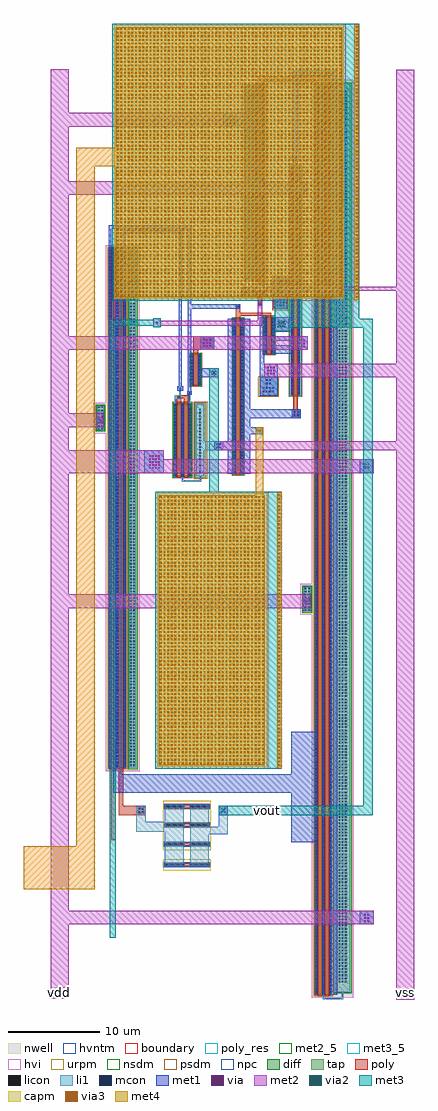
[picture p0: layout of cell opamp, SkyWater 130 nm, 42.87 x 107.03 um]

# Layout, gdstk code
from math import pi, radians
import gdstk
lib = gdstk.Library(unit=1e-6, precision=1e-09)
def R(c, l, rs):  # rectangles x0, y0, x1, y1
    for r in rs: c.add(gdstk.rectangle(r[:2], r[2:], *l))
def A(c, l, x, y, w, h, nx, ny, dx, dy):  # array of equal rectangles
    R(c, l, [(x+i*dx, y+j*dy, x+i*dx+w, y+j*dy+h) for i in range(nx) for j in range(ny)])
nwell = (64, 20)
diff = (65, 20)
tap = (65, 44)
poly_res = (66, 13)
poly = (66, 20)
licon = (66, 44)
li1 = (67, 20)
mcon = (67, 44)
met1 = (68, 20)
via = (68, 44)
met2_5 = (69, 5)
met2 = (69, 20)
via2 = (69, 44)
met3_5 = (70, 5)
met3 = (70, 20)
via3 = (70, 44)
met4 = (71, 20)
hvi = (75, 20)
urpm = (79, 20)
capm = (89, 44)
nsdm = (93, 44)
psdm = (94, 20)
npc = (95, 20)
hvntm = (125, 20)
boundary = (235, 4)

sky130_fd_pr__pfet_g5v0d = lib.new_cell('sky130_fd_pr__pfet_g5v0d10v5_WEFUJG')
R(sky130_fd_pr__pfet_g5v0d, nwell, [(-0.72,-28.81,0.72,28.81)])
R(sky130_fd_pr__pfet_g5v0d, diff, [(-0.54,-28.5,0.54,28.5)])
R(sky130_fd_pr__pfet_g5v0d, poly, [(-0.25,-28.63,0.25,28.63)])
A(sky130_fd_pr__pfet_g5v0d, licon, -0.48, -28.305, 0.17, 0.17, 1, 167, 0, 0.34)
A(sky130_fd_pr__pfet_g5v0d, licon, 0.31, -28.305, 0.17, 0.17, 1, 167, 0, 0.34)
R(sky130_fd_pr__pfet_g5v0d, li1, [(-0.48,-28.52,-0.31,28.52), (0.31,-28.52,0.48,28.52)])
A(sky130_fd_pr__pfet_g5v0d, mcon, -0.48, -28.345, 0.17, 0.17, 1, 158, 0, 0.36)
A(sky130_fd_pr__pfet_g5v0d, mcon, 0.31, -28.345, 0.17, 0.17, 1, 158, 0, 0.36)
R(sky130_fd_pr__pfet_g5v0d, met1, [(-0.51,-28.5,-0.28,28.5), (0.28,-28.5,0.51,28.5)])
R(sky130_fd_pr__pfet_g5v0d, hvi, [(-0.72,-28.81,0.72,-28.685), (-0.725,-28.685,0.725,28.685), (-0.72,28.685,0.72,28.81)])
R(sky130_fd_pr__pfet_g5v0d, psdm, [(-0.665,-28.625,0.665,28.625)])

sky130_fd_pr__res_xhigh_ = lib.new_cell('sky130_fd_pr__res_xhigh_po_0p35_6R3NZW')
R(sky130_fd_pr__res_xhigh_, poly_res, [(-0.175,-0.31,0.175,0.31)])
R(sky130_fd_pr__res_xhigh_, poly, [(-0.175,-2.41,0.175,2.41)])
R(sky130_fd_pr__res_xhigh_, licon, [(-0.095,-2.33,0.095,-0.33), (-0.095,0.33,0.095,2.33)])
R(sky130_fd_pr__res_xhigh_, li1, [(-0.175,-2.41,0.175,-0.25), (-0.175,0.25,0.175,2.41)])
R(sky130_fd_pr__res_xhigh_, urpm, [(-0.635,-2.61,0.635,2.61)])
R(sky130_fd_pr__res_xhigh_, psdm, [(-0.285,-2.52,0.285,2.52)])
R(sky130_fd_pr__res_xhigh_, npc, [(-0.27,-2.505,0.27,2.505)])

sky130_fd_pr__nfet_g5v0d = lib.new_cell('sky130_fd_pr__nfet_g5v0d10v5_NVF9UB')
R(sky130_fd_pr__nfet_g5v0d, diff, [(-0.54,-1.7,0.54,1.7)])
R(sky130_fd_pr__nfet_g5v0d, poly, [(-0.25,-1.83,0.25,1.83)])
A(sky130_fd_pr__nfet_g5v0d, licon, -0.48, -1.615, 0.17, 0.17, 1, 10, 0, 0.34)
A(sky130_fd_pr__nfet_g5v0d, licon, 0.31, -1.615, 0.17, 0.17, 1, 10, 0, 0.34)
R(sky130_fd_pr__nfet_g5v0d, li1, [(-0.48,-1.72,-0.31,1.72), (0.31,-1.72,0.48,1.72)])
A(sky130_fd_pr__nfet_g5v0d, mcon, -0.48, -1.525, 0.17, 0.17, 1, 9, 0, 0.36)
A(sky130_fd_pr__nfet_g5v0d, mcon, 0.31, -1.525, 0.17, 0.17, 1, 9, 0, 0.36)
R(sky130_fd_pr__nfet_g5v0d, met1, [(-0.51,-1.7,-0.28,1.7), (0.28,-1.7,0.51,1.7)])
R(sky130_fd_pr__nfet_g5v0d, hvi, [(-0.725,-1.885,0.725,1.885)])
R(sky130_fd_pr__nfet_g5v0d, nsdm, [(-0.665,-1.825,0.665,1.825)])
R(sky130_fd_pr__nfet_g5v0d, hvntm, [(-0.725,-1.885,0.725,1.885)])

c_sky130_fd_pr__nfet_g5v0d = lib.new_cell('sky130_fd_pr__nfet_g5v0d10v5_8TFH99')
R(c_sky130_fd_pr__nfet_g5v0d, diff, [(-0.54,-4,0.54,4)])
R(c_sky130_fd_pr__nfet_g5v0d, poly, [(-0.25,-4.13,0.25,4.13)])
A(c_sky130_fd_pr__nfet_g5v0d, licon, -0.48, -3.825, 0.17, 0.17, 1, 23, 0, 0.34)
A(c_sky130_fd_pr__nfet_g5v0d, licon, 0.31, -3.825, 0.17, 0.17, 1, 23, 0, 0.34)
R(c_sky130_fd_pr__nfet_g5v0d, li1, [(-0.48,-4.02,-0.31,4.02), (0.31,-4.02,0.48,4.02)])
A(c_sky130_fd_pr__nfet_g5v0d, mcon, -0.48, -3.865, 0.17, 0.17, 1, 22, 0, 0.36)
A(c_sky130_fd_pr__nfet_g5v0d, mcon, 0.31, -3.865, 0.17, 0.17, 1, 22, 0, 0.36)
R(c_sky130_fd_pr__nfet_g5v0d, met1, [(-0.51,-4,-0.28,4), (0.28,-4,0.51,4)])
R(c_sky130_fd_pr__nfet_g5v0d, hvi, [(-0.725,-4.185,0.725,4.185)])
R(c_sky130_fd_pr__nfet_g5v0d, nsdm, [(-0.665,-4.125,0.665,4.125)])
R(c_sky130_fd_pr__nfet_g5v0d, hvntm, [(-0.725,-4.185,0.725,4.185)])

sky130_fd_pr__cap_mim_m3 = lib.new_cell('sky130_fd_pr__cap_mim_m3_1_R576D9')
R(sky130_fd_pr__cap_mim_m3, met3, [(-6.93,-15.2,6.93,15.2)])
A(sky130_fd_pr__cap_mim_m3, via3, 6.57, -14.9, 0.2, 0.2, 1, 75, 0, 0.4)
A(sky130_fd_pr__cap_mim_m3, via3, -6.43, -14.7, 0.2, 0.2, 29, 74, 0.4, 0.4)
R(sky130_fd_pr__cap_mim_m3, met4, [(6.43,-15.14,6.91,15.14), (-6.535,-14.805,5.075,14.805)])
R(sky130_fd_pr__cap_mim_m3, capm, [(-6.73,-15,5.27,15)])
R(sky130_fd_pr__cap_mim_m3, boundary, [(-6.93,-15.2,5.47,15.2)])

c_sky130_fd_pr__pfet_g5v0d = lib.new_cell('sky130_fd_pr__pfet_g5v0d10v5_WEDTZF')
R(c_sky130_fd_pr__pfet_g5v0d, nwell, [(-0.72,-10.81,0.72,10.81)])
R(c_sky130_fd_pr__pfet_g5v0d, diff, [(-0.54,-10.5,0.54,10.5)])
R(c_sky130_fd_pr__pfet_g5v0d, poly, [(-0.25,-10.63,0.25,10.63)])
A(c_sky130_fd_pr__pfet_g5v0d, licon, -0.48, -10.285, 0.17, 0.17, 1, 61, 0, 0.34)
A(c_sky130_fd_pr__pfet_g5v0d, licon, 0.31, -10.285, 0.17, 0.17, 1, 61, 0, 0.34)
R(c_sky130_fd_pr__pfet_g5v0d, li1, [(-0.48,-10.52,-0.31,10.52), (0.31,-10.52,0.48,10.52)])
A(c_sky130_fd_pr__pfet_g5v0d, mcon, -0.48, -10.345, 0.17, 0.17, 1, 58, 0, 0.36)
A(c_sky130_fd_pr__pfet_g5v0d, mcon, 0.31, -10.345, 0.17, 0.17, 1, 58, 0, 0.36)
R(c_sky130_fd_pr__pfet_g5v0d, met1, [(-0.51,-10.5,-0.28,10.5), (0.28,-10.5,0.51,10.5)])
R(c_sky130_fd_pr__pfet_g5v0d, hvi, [(-0.72,-10.81,0.72,-10.685), (-0.725,-10.685,0.725,10.685), (-0.72,10.685,0.72,10.81)])
R(c_sky130_fd_pr__pfet_g5v0d, psdm, [(-0.665,-10.625,0.665,10.625)])

c_sky130_fd_pr__pfet_g5v0d_ = lib.new_cell('sky130_fd_pr__pfet_g5v0d10v5_WEGY9C')
R(c_sky130_fd_pr__pfet_g5v0d_, nwell, [(-0.72,-50.31,0.72,50.31)])
R(c_sky130_fd_pr__pfet_g5v0d_, diff, [(-0.54,-50,0.54,50)])
R(c_sky130_fd_pr__pfet_g5v0d_, poly, [(-0.25,-50.13,0.25,50.13)])
A(c_sky130_fd_pr__pfet_g5v0d_, licon, -0.48, -49.895, 0.17, 0.17, 1, 294, 0, 0.34)
A(c_sky130_fd_pr__pfet_g5v0d_, licon, 0.31, -49.895, 0.17, 0.17, 1, 294, 0, 0.34)
R(c_sky130_fd_pr__pfet_g5v0d_, li1, [(-0.48,-50.02,-0.31,50.02), (0.31,-50.02,0.48,50.02)])
A(c_sky130_fd_pr__pfet_g5v0d_, mcon, -0.48, -49.765, 0.17, 0.17, 1, 277, 0, 0.36)
A(c_sky130_fd_pr__pfet_g5v0d_, mcon, 0.31, -49.765, 0.17, 0.17, 1, 277, 0, 0.36)
R(c_sky130_fd_pr__pfet_g5v0d_, met1, [(-0.51,-50,-0.28,50), (0.28,-50,0.51,50)])
R(c_sky130_fd_pr__pfet_g5v0d_, hvi, [(-0.72,-50.31,0.72,-50.185), (-0.725,-50.185,0.725,50.185), (-0.72,50.185,0.72,50.31)])
R(c_sky130_fd_pr__pfet_g5v0d_, psdm, [(-0.665,-50.125,0.665,50.125)])

c_sky130_fd_pr__nfet_g5v0d_ = lib.new_cell('sky130_fd_pr__nfet_g5v0d10v5_5WHWCF')
R(c_sky130_fd_pr__nfet_g5v0d_, diff, [(-0.54,-0.215,0.54,0.215)])
R(c_sky130_fd_pr__nfet_g5v0d_, poly, [(-0.25,-0.345,0.25,0.345)])
R(c_sky130_fd_pr__nfet_g5v0d_, licon, [(-0.48,-0.085,-0.31,0.085), (0.31,-0.085,0.48,0.085)])
R(c_sky130_fd_pr__nfet_g5v0d_, li1, [(-0.48,-0.235,-0.31,0.235), (0.31,-0.235,0.48,0.235)])
R(c_sky130_fd_pr__nfet_g5v0d_, mcon, [(-0.48,-0.085,-0.31,0.085), (0.31,-0.085,0.48,0.085)])
R(c_sky130_fd_pr__nfet_g5v0d_, met1, [(-0.51,-0.215,-0.28,0.215), (0.28,-0.215,0.51,0.215)])
R(c_sky130_fd_pr__nfet_g5v0d_, hvi, [(-0.725,-0.42,0.725,0.42)])
R(c_sky130_fd_pr__nfet_g5v0d_, nsdm, [(-0.665,-0.34,0.665,0.34)])
R(c_sky130_fd_pr__nfet_g5v0d_, hvntm, [(-0.725,-0.4,0.725,0.4)])

c_sky130_fd_pr__nfet_g5v0d__ = lib.new_cell('sky130_fd_pr__nfet_g5v0d10v5_JTFHRD')
R(c_sky130_fd_pr__nfet_g5v0d__, diff, [(-0.54,-8.5,0.54,8.5)])
R(c_sky130_fd_pr__nfet_g5v0d__, poly, [(-0.25,-8.63,0.25,8.63)])
A(c_sky130_fd_pr__nfet_g5v0d__, licon, -0.48, -8.415, 0.17, 0.17, 1, 50, 0, 0.34)
A(c_sky130_fd_pr__nfet_g5v0d__, licon, 0.31, -8.415, 0.17, 0.17, 1, 50, 0, 0.34)
R(c_sky130_fd_pr__nfet_g5v0d__, li1, [(-0.48,-8.52,-0.31,8.52), (0.31,-8.52,0.48,8.52)])
A(c_sky130_fd_pr__nfet_g5v0d__, mcon, -0.48, -8.365, 0.17, 0.17, 1, 47, 0, 0.36)
A(c_sky130_fd_pr__nfet_g5v0d__, mcon, 0.31, -8.365, 0.17, 0.17, 1, 47, 0, 0.36)
R(c_sky130_fd_pr__nfet_g5v0d__, met1, [(-0.51,-8.5,-0.28,8.5), (0.28,-8.5,0.51,8.5)])
R(c_sky130_fd_pr__nfet_g5v0d__, hvi, [(-0.725,-8.685,0.725,8.685)])
R(c_sky130_fd_pr__nfet_g5v0d__, nsdm, [(-0.665,-8.625,0.665,8.625)])
R(c_sky130_fd_pr__nfet_g5v0d__, hvntm, [(-0.725,-8.685,0.725,8.685)])

c_sky130_fd_pr__nfet_g5v0d___ = lib.new_cell('sky130_fd_pr__nfet_g5v0d10v5_R7UGR2')
R(c_sky130_fd_pr__nfet_g5v0d___, diff, [(-0.54,-12.5,0.54,12.5)])
R(c_sky130_fd_pr__nfet_g5v0d___, poly, [(-0.25,-12.63,0.25,12.63)])
A(c_sky130_fd_pr__nfet_g5v0d___, licon, -0.48, -12.325, 0.17, 0.17, 1, 73, 0, 0.34)
A(c_sky130_fd_pr__nfet_g5v0d___, licon, 0.31, -12.325, 0.17, 0.17, 1, 73, 0, 0.34)
R(c_sky130_fd_pr__nfet_g5v0d___, li1, [(-0.48,-12.52,-0.31,12.52), (0.31,-12.52,0.48,12.52)])
A(c_sky130_fd_pr__nfet_g5v0d___, mcon, -0.48, -12.325, 0.17, 0.17, 1, 69, 0, 0.36)
A(c_sky130_fd_pr__nfet_g5v0d___, mcon, 0.31, -12.325, 0.17, 0.17, 1, 69, 0, 0.36)
R(c_sky130_fd_pr__nfet_g5v0d___, met1, [(-0.51,-12.5,-0.28,12.5), (0.28,-12.5,0.51,12.5)])
R(c_sky130_fd_pr__nfet_g5v0d___, hvi, [(-0.725,-12.685,0.725,12.685)])
R(c_sky130_fd_pr__nfet_g5v0d___, nsdm, [(-0.665,-12.625,0.665,12.625)])
R(c_sky130_fd_pr__nfet_g5v0d___, hvntm, [(-0.725,-12.685,0.725,12.685)])

c_sky130_fd_pr__nfet_g5v0d____ = lib.new_cell('sky130_fd_pr__nfet_g5v0d10v5_CPFH9X')
R(c_sky130_fd_pr__nfet_g5v0d____, diff, [(-0.54,-2,0.54,2)])
R(c_sky130_fd_pr__nfet_g5v0d____, poly, [(-0.25,-2.13,0.25,2.13)])
A(c_sky130_fd_pr__nfet_g5v0d____, licon, -0.48, -1.785, 0.17, 0.17, 1, 11, 0, 0.34)
A(c_sky130_fd_pr__nfet_g5v0d____, licon, 0.31, -1.785, 0.17, 0.17, 1, 11, 0, 0.34)
R(c_sky130_fd_pr__nfet_g5v0d____, li1, [(-0.48,-2.02,-0.31,2.02), (0.31,-2.02,0.48,2.02)])
A(c_sky130_fd_pr__nfet_g5v0d____, mcon, -0.48, -1.885, 0.17, 0.17, 1, 11, 0, 0.36)
A(c_sky130_fd_pr__nfet_g5v0d____, mcon, 0.31, -1.885, 0.17, 0.17, 1, 11, 0, 0.36)
R(c_sky130_fd_pr__nfet_g5v0d____, met1, [(-0.51,-2,-0.28,2), (0.28,-2,0.51,2)])
R(c_sky130_fd_pr__nfet_g5v0d____, hvi, [(-0.725,-2.185,0.725,2.185)])
R(c_sky130_fd_pr__nfet_g5v0d____, nsdm, [(-0.665,-2.125,0.665,2.125)])
R(c_sky130_fd_pr__nfet_g5v0d____, hvntm, [(-0.725,-2.185,0.725,2.185)])

c_sky130_fd_pr__cap_mim_m3 = lib.new_cell('sky130_fd_pr__cap_mim_m3_1_FWYM4B')
R(c_sky130_fd_pr__cap_mim_m3, met3, [(-13.53,-15.2,13.53,15.2)])
A(c_sky130_fd_pr__cap_mim_m3, via3, 13.17, -14.9, 0.2, 0.2, 1, 75, 0, 0.4)
A(c_sky130_fd_pr__cap_mim_m3, via3, -13.03, -14.7, 0.2, 0.2, 62, 74, 0.4, 0.4)
R(c_sky130_fd_pr__cap_mim_m3, met4, [(13.03,-15.14,13.51,15.14), (-13.135,-14.805,11.675,14.805)])
R(c_sky130_fd_pr__cap_mim_m3, capm, [(-13.33,-15,11.87,15)])
R(c_sky130_fd_pr__cap_mim_m3, boundary, [(-13.53,-15.2,12.07,15.2)])

opamp = lib.new_cell('opamp')
R(opamp, nwell, [(2.725,-22.06,7.29,19.98), (-19.88,2.83,-16.17,39.84), (1.46,19.98,7.29,23.38), (2.725,23.38,7.29,78.605), (-21.22,39.84,-16.17,43.24), (-19.88,43.24,-16.17,60.5), (-4.855,56.55,-2.08,78.21)])
R(opamp, diff, [(-3.665,54.945,-3.49,55.375), (-3.74,56.88,-3.49,77.88)])
R(opamp, tap, [(5.215,-21.405,6.96,-20.32), (5.215,-20.32,6.955,78.185), (-17.34,3.165,-16.5,60.165), (1.81,20.33,2.65,23.02), (-10.12,34.995,-8.83,43.22), (-20.87,40.19,-20.03,42.88), (-3,43.995,-1,46), (-1.505,53.5,0.005,56.995), (-4.84,54.945,-4.14,55.375), (-4.525,56.88,-3.74,77.88)])
R(opamp, poly, [(-19.265,-4.755,-18.755,3.035), (-18.465,-2,-15.5,-1), (-18.465,-1,-17.965,3.035), (0.5,41.505,1.505,42.5), (0.685,42.5,1.195,43.94), (-12.1,43.26,-11.6,43.73), (-11.31,43.26,-10.81,43.73), (-12.1,43.73,-10.81,44.03), (-10.25,48.66,-9.75,49), (-10.25,49,-8,50.5), (-5.6,52.54,-5.1,52.77), (-2.21,52.74,-1.71,52.77), (-5.6,52.77,-1.71,53.095), (-5.6,53.095,-5.1,54), (-3.22,53.835,-2.685,54.295), (-3.2,54.295,-2.7,54.815), (-3.2,56.175,-2.355,56.555), (-3.2,56.555,-2.7,56.75), (0.69,69.2,1.19,69.775), (0.57,69.775,1.33,70.36), (-3.2,78.01,-2.7,78.4), (-3.2,78.4,3.85,78.76), (4.14,78.4,4.64,78.76), (-3.2,78.76,4.64,79), (-3.2,79,3.57,79.005)])
A(opamp, licon, 5.68, -20.33, 0.17, 0.17, 3, 288, 0.34, 0.34)
A(opamp, licon, -17.18, 3.375, 0.17, 0.17, 1, 167, 0, 0.34)
A(opamp, licon, -16.84, 3.375, 0.17, 0.17, 1, 167, 0, 0.34)
A(opamp, licon, 1.97, 20.4, 0.17, 0.17, 1, 8, 0, 0.34)
A(opamp, licon, 2.31, 20.4, 0.17, 0.17, 1, 8, 0, 0.34)
A(opamp, licon, -9.62, 35.57, 0.17, 0.17, 1, 21, 0, 0.34)
A(opamp, licon, -20.71, 40.26, 0.17, 0.17, 1, 8, 0, 0.34)
A(opamp, licon, -20.37, 40.26, 0.17, 0.17, 1, 8, 0, 0.34)
A(opamp, licon, -2.65, 44.385, 0.17, 0.17, 4, 2, 0.34, 0.34)
A(opamp, licon, -9.175, 49.35, 0.17, 0.17, 3, 3, 0.34, 0.34)
A(opamp, licon, -1.16, 53.78, 0.17, 0.17, 3, 9, 0.34, 0.34)
A(opamp, licon, -4.38, 57.065, 0.17, 0.17, 1, 61, 0, 0.34)
A(opamp, licon, -4.04, 57.065, 0.17, 0.17, 1, 61, 0, 0.34)
R(opamp, licon, [(-16.25,-1.77,-16.08,-1.6), (-15.91,-1.77,-15.74,-1.6), (-16.25,-1.43,-16.08,-1.26), (-15.91,-1.43,-15.74,-1.26), (0.765,41.77,0.935,41.94), (1.105,41.77,1.275,41.94), (0.765,42.11,0.935,42.28), (1.105,42.11,1.275,42.28), (-11.945,43.74,-11.775,43.91), (-5.435,53.675,-5.265,53.845), (-3.04,53.98,-2.87,54.15), (-4.52,55.09,-4.35,55.26), (-2.66,56.275,-2.49,56.445), (0.87,70.02,1.04,70.19)])
R(opamp, li1, [(3.91,-22.22,6.16,-22.05), (3.91,-22.05,4.08,-21.75), (5.99,-22.05,6.16,-21.405), (5.215,-21.405,6.96,-14), (5.215,-14,9.5,-12.5), (5.215,-12.5,6.96,35.5), (-10.62,-7.64,-8.56,-4.475), (-13.39,-7.63,-11.31,-3.825), (-10.62,-4.475,-8.555,-4.105), (-10.62,-4.105,-6.495,-3.255), (-16.5,-3.825,-11.31,-2.74), (-10.62,-3.255,-8.555,-2.325), (-7.5,-3.255,-6.5,-1), (-16.5,-2.74,-15.5,-1), (-13.39,-2.74,-11.31,-0.89), (-10.62,-2.325,-8.56,-0.89), (-17.295,3.215,-16.535,35.5), (1.855,20.33,2.615,23.02), (-11.54,34.53,-9.415,34.7), (-11.54,34.7,-11.37,35.11), (-9.585,34.7,-9.415,35.195), (-9.925,35.195,-9.075,38), (-17.295,35.5,-13.5,38), (5.215,35.5,9.51,36.99), (5.215,36.99,6.96,78.185), (-17.295,38,-16.535,60.13), (-9.925,38,-7,39), (-9.925,39,-9.075,43.06), (-20.825,40.19,-20.065,42.88), (0.5,41.505,1.505,42.5), (-12.33,43.15,-12.16,43.64), (-10.75,43.15,-10.58,44.085), (-12.33,43.64,-11.6,44.03), (-3,43.995,-1,46), (-11.81,44.03,-11.64,44.54), (-10.925,44.085,-10.425,44.5), (-12.02,44.54,-11.39,45.01), (-9.5,49,-8,50.5), (-5.6,53.5,-5.095,54), (-1.505,53.5,0.005,56.995), (-3.22,53.835,-2.685,54.295), (-4.795,54.945,-3.43,55.375), (-4.785,55.375,-4.165,55.925), (-2.64,55.395,-2.47,56.175), (-2.78,56.175,-2.355,56.555), (-2.64,56.555,-2.47,56.86), (-4.525,56.88,-3.43,73.5), (0.57,69.775,1.33,70.36), (-7,73.5,-3.43,75), (-4.525,75,-3.43,77.88), (6.07,78.185,6.24,78.55), (3.91,78.29,4.08,78.55), (3.91,78.55,6.24,78.72)])
A(opamp, mcon, 8.475, -13.73, 0.17, 0.17, 1, 3, 0, 0.36)
A(opamp, mcon, 8.835, -13.73, 0.17, 0.17, 1, 3, 0, 0.36)
A(opamp, mcon, -9.195, 49.33, 0.17, 0.17, 3, 3, 0.36, 0.36)
A(opamp, mcon, -6.685, 73.805, 0.17, 0.17, 3, 3, 0.36, 0.36)
R(opamp, mcon, [(-7.255,-1.73,-7.085,-1.56), (-6.895,-1.73,-6.725,-1.56), (-7.255,-1.37,-7.085,-1.2), (-6.895,-1.37,-6.725,-1.2), (2.14,21.345,2.31,21.515), (8.49,36.045,8.66,36.215), (8.85,36.045,9.02,36.215), (8.49,36.405,8.66,36.575), (8.85,36.405,9.02,36.575), (-7.74,38.225,-7.57,38.395), (-7.38,38.225,-7.21,38.395), (-7.74,38.585,-7.57,38.755), (-7.38,38.585,-7.21,38.755), (-20.54,41.205,-20.37,41.375), (0.755,41.76,0.925,41.93), (1.115,41.76,1.285,41.93), (0.755,42.12,0.925,42.29), (1.115,42.12,1.285,42.29), (-10.755,44.195,-10.585,44.365), (-11.775,44.685,-11.605,44.855), (-2.3,45.25,-2.13,45.42), (-1.94,45.25,-1.77,45.42), (-2.3,45.61,-2.13,45.78), (-1.94,45.61,-1.77,45.78), (-5.435,53.675,-5.265,53.845), (-3.04,53.98,-2.87,54.15), (-1.015,54.99,-0.845,55.16), (-0.655,54.99,-0.485,55.16), (-1.015,55.35,-0.845,55.52), (-0.655,55.35,-0.485,55.52), (-4.63,55.545,-4.46,55.715), (0.87,70.02,1.04,70.19)])
R(opamp, met1, [(4.9,-21.73,5.5,79.095), (8,-14,9.5,-12.5), (0.49,-5.005,3.09,0.43), (-7.5,-2,-6.5,-1), (-19.03,0.43,3.09,2.5), (-19.03,2.5,-18.195,60.295), (0.49,2.5,3.09,7.135), (1.97,21.14,2.49,21.76), (-6.5,35.41,-5.86,38), (-4.84,35.41,-4,39.76), (-15.64,35.5,-13.5,38), (8,35.5,9.51,36.99), (-8,38,-5.86,39), (-6.5,39,-5.86,52.41), (-4.84,39.76,-2.585,40.525), (-4.84,40.525,-4,41.505), (-20.71,41,-20.19,41.62), (-4.84,41.505,1.505,42.5), (-4.84,42.5,-4,52.41), (-3,43.995,-1,47.5), (-10.925,44.085,-10.425,44.5), (-10.855,44.5,-10.495,53.5), (-12.02,44.54,-11.39,45.01), (-11.88,45.01,-11.52,61.79), (-9.49,46,-7.5,47), (-3,47.5,-2.47,52.61), (-1.45,48.61,0.43,49.5), (-9.5,49,-8,50.5), (1.45,49,2.3,50.5), (-1.45,49.5,-1.42,50), (0.4,49.5,0.43,50), (-1.45,50,0.43,50.5), (-1.45,50.5,-1.42,51), (0.4,50.5,0.43,51), (-1.45,51,0.43,52.61), (-10.855,53.5,-5.1,54), (-1.505,53.5,0.005,56.995), (-3.22,53.835,-2.685,54.295), (-10.855,54,-10.495,62.32), (-4.785,55.375,-4.29,55.925), (-19.515,60.165,-19.28,62.32), (-17.935,60.165,-17.705,61.79), (-17.935,61.79,-11.52,62.15), (-19.515,62.32,-10.495,62.68), (1.45,66,2.24,67.5), (0.57,69.775,1.33,70.36), (0.62,70.36,1.22,79.095), (-7,73.5,-5.5,75), (0.62,79.095,5.5,79.695)])
A(opamp, via, 8.505, -13.68, 0.15, 0.15, 1, 3, 0, 0.32)
A(opamp, via, 8.825, -13.68, 0.15, 0.15, 1, 3, 0, 0.32)
A(opamp, via, -15.085, 36.005, 0.15, 0.15, 4, 5, 0.32, 0.32)
A(opamp, via, -2.15, 46.355, 0.15, 0.15, 3, 3, 0.32, 0.32)
A(opamp, via, 1.79, 49.305, 0.15, 0.15, 1, 3, 0, 0.32)
A(opamp, via, -9.145, 49.38, 0.15, 0.15, 3, 3, 0.32, 0.32)
A(opamp, via, -0.985, 51.44, 0.15, 0.15, 3, 3, 0.32, 0.32)
A(opamp, via, 1.77, 66.415, 0.15, 0.15, 1, 3, 0, 0.32)
A(opamp, via, -6.635, 73.855, 0.15, 0.15, 3, 3, 0.32, 0.32)
R(opamp, via, [(-7.065,-1.54,-6.915,-1.39), (2.15,21.355,2.3,21.505), (8.52,36.075,8.67,36.225), (8.84,36.075,8.99,36.225), (8.52,36.395,8.67,36.545), (8.84,36.395,8.99,36.545), (-7.55,38.255,-7.4,38.405), (-7.55,38.575,-7.4,38.725), (-3.07,40.08,-2.92,40.23), (-20.53,41.215,-20.38,41.365), (-8.235,46.27,-8.085,46.42), (-7.915,46.27,-7.765,46.42), (-8.235,46.59,-8.085,46.74), (-7.915,46.59,-7.765,46.74), (-3.03,53.99,-2.88,54.14), (-0.985,55.18,-0.835,55.33), (-0.665,55.18,-0.515,55.33), (-4.62,55.555,-4.47,55.705)])
R(opamp, met2_5, [(-25.555,-22.05,-24.3,-20.94), (12.555,-21.895,13.355,-21.05)])
R(opamp, met2, [(11.995,-22.225,13.98,38), (-25.89,-22.155,-23.905,-14), (-25.89,-14,9.5,-12.5), (-25.89,-12.5,-23.905,20.69), (-7.5,-2,-6.5,-1), (-25.89,20.69,2.59,22.2), (-25.89,22.2,-23.905,35.5), (-25.89,35.5,9.51,36.99), (-25.89,36.99,-13.5,38), (-25.89,38,-23.905,40.55), (-8,38,13.98,39), (11.995,39,13.98,46), (-3.425,39.76,-2.585,40.525), (-25.89,40.55,-20.09,42.06), (-25.89,42.06,-23.905,49), (-8.5,46,-7.5,47), (-2.47,46,13.98,47.5), (11.995,47.5,13.98,55.505), (-25.89,49,2.3,50.5), (-25.89,50.5,-23.905,66), (-1.335,51.055,0.275,52.565), (-14.67,51.47,-13.835,51.66), (-14.67,51.66,-2.685,52.195), (-14.67,52.195,-13.835,52.5), (-3.22,52.195,-2.685,54.295), (-1.505,53.5,0.005,55.505), (-4.785,55.375,-4.165,55.505), (-4.785,55.505,13.98,55.925), (-1.505,55.925,0.005,56.995), (11.995,55.925,13.98,79.715), (-25.89,66,2.24,67.5), (-25.89,67.5,-23.905,73.5), (-25.89,73.5,-5.5,75), (-25.89,75,-23.905,79.785)])
R(opamp, via2, [(-7.09,-1.565,-6.89,-1.365), (-3.095,40.055,-2.895,40.255), (-8.1,46.405,-7.9,46.605), (-0.89,51.535,-0.69,51.735), (-0.49,51.535,-0.29,51.735), (-14.35,51.895,-14.15,52.095), (-0.89,51.935,-0.69,52.135), (-0.49,51.935,-0.29,52.135)])
R(opamp, met3_5, [(-2.53,-1.96,-1.73,-1.115)])
R(opamp, met3, [(-19.435,-15.43,-18.785,51.665), (-7.5,-2,9.39,-1), (8.39,-1,9.39,51.435), (-8.5,33.475,-7.5,47), (-3.425,39.76,-2.585,40.525), (-1.335,51.055,0.275,51.435), (-1.335,51.435,9.39,52.435), (-14.67,51.47,-13.835,51.665), (-19.435,51.665,-13.835,52.315), (-14.67,52.315,-13.835,52.5), (-1.335,52.435,7.9,54.4), (-4.395,54.945,-4.35,55.375), (-3.885,55.075,-3.78,55.28)])
R(opamp, via3, [(-3.095,40.055,-2.895,40.255)])
R(opamp, met4, [(-28.885,-10.15,-22.755,-10.145), (-28.885,-10.145,-21.09,-5.445), (-23.105,-5.445,-21.09,69.145), (-3.445,33.065,-2.585,39.77), (-3.43,39.77,-2.585,39.78), (-3.425,39.78,-2.585,40.525), (-23.105,69.145,-18.75,71.16)])
R(opamp, hvi, [(2.725,-22.06,7.29,19.98), (-19.88,2.83,-16.17,39.84), (1.46,19.98,7.29,23.38), (2.725,23.38,7.29,78.605), (-21.22,39.84,-16.17,43.24), (-19.88,43.24,-16.17,60.5), (-5.025,54.74,-3.305,55.58), (-4.855,56.55,-2.08,78.21)])
R(opamp, urpm, [(-13.575,-4.57,-8.37,-3.735), (-13.575,-2.465,-8.36,-1.7)])
R(opamp, nsdm, [(5.09,-21.53,7.085,-20.195), (5.09,-20.195,7.08,78.31), (-17.465,3.04,-16.375,60.29), (1.685,20.205,2.775,23.145), (-20.995,40.065,-19.905,43.005), (-3.79,54.82,-3.365,55.5), (-4.65,56.755,-3.74,78.005)])
R(opamp, psdm, [(-10.245,34.87,-8.705,43.345), (-3.125,43.87,-0.875,46.125), (-1.63,53.375,0.13,57.12), (-4.965,54.82,-4.015,55.5), (-3.74,56.755,-3.365,78.005)])
R(opamp, npc, [(-16.35,-1.87,-15.64,-1.16), (0.665,41.67,1.375,42.38), (-12.045,43.64,-11.675,44.01), (-9.275,49.25,-8.225,50.3), (-5.535,53.575,-5.165,53.945), (-3.14,53.88,-2.77,54.25), (-2.76,56.175,-2.39,56.545), (0.77,69.92,1.14,70.29)])
R(opamp, hvntm, [(-3.85,54.76,-3.675,55.56)])
opamp.add(gdstk.Reference(sky130_fd_pr__pfet_g5v0d, (-18.215,31.665)))
opamp.add(gdstk.Reference(sky130_fd_pr__res_xhigh_, (-10.98,-7.455), rotation=3*pi/2))
opamp.add(gdstk.Reference(sky130_fd_pr__res_xhigh_, (-10.98,-5.205), rotation=3*pi/2))
opamp.add(gdstk.Reference(sky130_fd_pr__res_xhigh_, (-10.965,-3.1), rotation=3*pi/2))
opamp.add(gdstk.Reference(sky130_fd_pr__res_xhigh_, (-10.97,-1.065), rotation=3*pi/2))
opamp.add(gdstk.Reference(sky130_fd_pr__pfet_g5v0d, (-19.005,31.665)))
opamp.add(gdstk.Reference(sky130_fd_pr__nfet_g5v0d, (-10,46.83), rotation=pi, x_reflection=True))
opamp.add(gdstk.Reference(c_sky130_fd_pr__nfet_g5v0d, (-11.06,39.13)))
opamp.add(gdstk.Reference(c_sky130_fd_pr__nfet_g5v0d, (-11.85,39.13), rotation=pi))
opamp.add(gdstk.Reference(sky130_fd_pr__cap_mim_m3, (-7.505,18.275)))
opamp.add(gdstk.Reference(c_sky130_fd_pr__pfet_g5v0d, (-2.95,67.38)))
opamp.add(gdstk.Reference(c_sky130_fd_pr__pfet_g5v0d_, (3.6,28.27), rotation=pi, x_reflection=True))
opamp.add(gdstk.Reference(c_sky130_fd_pr__pfet_g5v0d_, (4.39,28.27)))
opamp.add(gdstk.Reference(c_sky130_fd_pr__nfet_g5v0d_, (-2.95,55.16)))
opamp.add(gdstk.Reference(c_sky130_fd_pr__nfet_g5v0d__, (-5.35,43.91)))
opamp.add(gdstk.Reference(c_sky130_fd_pr__nfet_g5v0d___, (0.94,56.57)))
opamp.add(gdstk.Reference(c_sky130_fd_pr__nfet_g5v0d____, (-1.96,50.61)))
opamp.add(gdstk.Reference(c_sky130_fd_pr__cap_mim_m3, (-5.63,69.6)))
opamp.add(gdstk.Label('vdd', (-24.927,-21.495), layer=69, texttype=5))
opamp.add(gdstk.Label('vout', (-2.13,-1.537), layer=70, texttype=5))
opamp.add(gdstk.Label('vss', (12.955,-21.472), layer=69, texttype=5))

lib.write_gds('opamp.gds')
